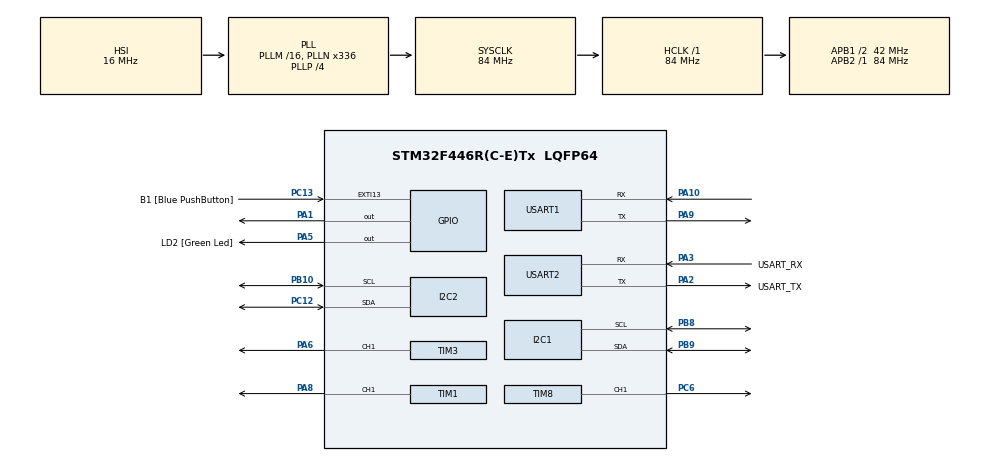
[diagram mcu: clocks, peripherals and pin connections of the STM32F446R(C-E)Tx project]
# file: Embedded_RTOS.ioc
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Dma.Request0=TIM3_CH1/TRIG
Dma.Request1=TIM1_CH1
Dma.TIM1_CH1.1.Direction=DMA_MEMORY_TO_PERIPH
Dma.TIM1_CH1.1.FIFOMode=DMA_FIFOMODE_DISABLE
Dma.TIM1_CH1.1.Instance=DMA2_Stream1
Dma.TIM1_CH1.1.MemDataAlignment=DMA_MDATAALIGN_HALFWORD
Dma.TIM1_CH1.1.MemInc=DMA_MINC_ENABLE
Dma.TIM1_CH1.1.Mode=DMA_NORMAL
Dma.TIM1_CH1.1.PeriphDataAlignment=DMA_PDATAALIGN_HALFWORD
Dma.TIM1_CH1.1.PeriphInc=DMA_PINC_DISABLE
Dma.TIM1_CH1.1.Priority=DMA_PRIORITY_LOW
Dma.TIM3_CH1/TRIG.0.Direction=DMA_PERIPH_TO_MEMORY
Dma.TIM3_CH1/TRIG.0.FIFOMode=DMA_FIFOMODE_DISABLE
Dma.TIM3_CH1/TRIG.0.Instance=DMA1_Stream4
Dma.TIM3_CH1/TRIG.0.MemDataAlignment=DMA_MDATAALIGN_HALFWORD
Dma.TIM3_CH1/TRIG.0.MemInc=DMA_MINC_ENABLE
Dma.TIM3_CH1/TRIG.0.Mode=DMA_NORMAL
Dma.TIM3_CH1/TRIG.0.PeriphDataAlignment=DMA_PDATAALIGN_HALFWORD
Dma.TIM3_CH1/TRIG.0.PeriphInc=DMA_PINC_DISABLE
Dma.TIM3_CH1/TRIG.0.Priority=DMA_PRIORITY_LOW
Mcu.Family=STM32F4
Mcu.Name=STM32F446R(C-E)Tx
Mcu.Package=LQFP64
NVIC.DMA1_Stream4_IRQn=true\:0\:0\:false\:false\:true\:false\:true\:true
NVIC.DMA2_Stream1_IRQn=true\:0\:0\:false\:false\:true\:false\:true\:true
NVIC.I2C1_ER_IRQn=true\:0\:0\:false\:false\:true\:true\:true\:true
NVIC.I2C1_EV_IRQn=true\:0\:0\:false\:false\:true\:true\:true\:true
NVIC.I2C2_ER_IRQn=true\:0\:0\:false\:false\:true\:true\:true\:true
NVIC.I2C2_EV_IRQn=true\:0\:0\:false\:false\:true\:true\:true\:true
NVIC.PriorityGroup=NVIC_PRIORITYGROUP_0
NVIC.TIM1_CC_IRQn=true\:0\:0\:false\:false\:true\:true\:true\:true
NVIC.TIM7_IRQn=true\:0\:0\:false\:false\:true\:true\:true\:true
PA1.Signal=GPIO_Output
PA10.Mode=Asynchronous
PA10.Signal=USART1_RX
PA13.GPIO_Label=TMS
PA13.Mode=Serial_Wire
PA13.Signal=SYS_JTMS-SWDIO
PA14.GPIO_Label=TCK
PA14.Mode=Serial_Wire
PA14.Signal=SYS_JTCK-SWCLK
PA2.GPIO_Label=USART_TX
PA2.Mode=Asynchronous
PA2.Signal=USART2_TX
PA3.GPIO_Label=USART_RX
PA3.Mode=Asynchronous
PA3.Signal=USART2_RX
PA5.GPIO_Label=LD2 [Green Led]
PA5.Signal=GPIO_Output
PA6.Signal=S_TIM3_CH1
PA8.Signal=S_TIM1_CH1
PA9.Mode=Asynchronous
PA9.Signal=USART1_TX
PB10.GPIO_Pu=GPIO_PULLUP
PB10.Mode=I2C
PB10.Signal=I2C2_SCL
PB3.GPIO_Label=SWO
PB3.Signal=SYS_JTDO-SWO
PB8.GPIO_Pu=GPIO_PULLUP
PB8.Mode=I2C
PB8.Signal=I2C1_SCL
PB9.GPIO_Pu=GPIO_PULLUP
PB9.Mode=I2C
PB9.Signal=I2C1_SDA
PC12.GPIO_Pu=GPIO_PULLUP
PC12.Mode=I2C
PC12.Signal=I2C2_SDA
PC13.GPIO_Label=B1 [Blue PushButton]
PC13.GPIO_ModeDefaultEXTI=GPIO_MODE_IT_FALLING
PC13.Signal=GPXTI13
PC14-OSC32_IN.Mode=LSE-External-Oscillator
PC14-OSC32_IN.Signal=RCC_OSC32_IN
PC15-OSC32_OUT.Mode=LSE-External-Oscillator
PC15-OSC32_OUT.Signal=RCC_OSC32_OUT
PC6.Signal=S_TIM8_CH1
PH0-OSC_IN.Mode=HSE-External-Oscillator
PH0-OSC_IN.Signal=RCC_OSC_IN
PH1-OSC_OUT.Mode=HSE-External-Oscillator
PH1-OSC_OUT.Signal=RCC_OSC_OUT
ProjectManager.HeapSize=0x200
ProjectManager.StackSize=0x400
ProjectManager.TargetToolchain=STM32CubeIDE
RCC.48MHZClocksFreq_Value=84000000
RCC.AHBFreq_Value=84000000
RCC.APB1CLKDivider=RCC_HCLK_DIV2
RCC.APB1Freq_Value=42000000
RCC.APB1TimFreq_Value=84000000
RCC.APB2Freq_Value=84000000
RCC.APB2TimFreq_Value=84000000
RCC.CortexFreq_Value=84000000
RCC.FLatency-AdvancedSettings=FLASH_LATENCY_2
RCC.HCLKFreq_Value=84000000
RCC.HSE_VALUE=8000000
RCC.HSI_VALUE=16000000
RCC.PLLN=336
RCC.PLLP=RCC_PLLP_DIV4
RCC.SYSCLKFreq_VALUE=84000000
RCC.SYSCLKSource=RCC_SYSCLKSOURCE_PLLCLK
RCC.USBFreq_Value=168000000
RCC.VCOOutputFreq_Value=336000000
SH.S_TIM1_CH1.0=TIM1_CH1,PWM Generation1 CH1
SH.S_TIM3_CH1.0=TIM3_CH1,PWM Generation1 CH1
SH.S_TIM8_CH1.0=TIM8_CH1,PWM Generation1 CH1
TIM1.Channel-PWM\ Generation1\ CH1=TIM_CHANNEL_1
TIM1.Period=90-1
TIM3.Channel-PWM\ Generation1\ CH1=TIM_CHANNEL_1
TIM6.Period=0xffff-1
TIM6.Prescaler=84-1
TIM7.Period=499
TIM7.Prescaler=41999
TIM8.Channel-PWM\ Generation1\ CH1=TIM_CHANNEL_1
USART1.VirtualMode=VM_ASYNC
USART2.VirtualMode=VM_ASYNC
VP_TIM6_VS_ClockSourceINT.Mode=Enable_Timer
VP_TIM7_VS_ClockSourceINT.Mode=Enable_Timer
board=NUCLEO-F446RE

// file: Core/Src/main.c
/* USER CODE BEGIN Header */
/**
  ******************************************************************************
  * @file           : main.c
  * @brief          : Main program body
  ******************************************************************************
  * @attention
  *
  * Copyright (c) 2025 STMicroelectronics.
  * All rights reserved.
  *
  * This software is licensed under terms that can be found in the LICENSE file
  * in the root directory of this software component.
  * If no LICENSE file comes with this software, it is provided AS-IS.
  *
  ******************************************************************************
  */
/* USER CODE END Header */
#include "main.h"

/* USER CODE BEGIN Includes */
#include "Tasks.h"
#include "Queue.h"
#include "dht11_driver.h"
#include "ina219.h"
#include "ledstrip.h"
#include "math.h"

/* USER CODE END Includes */

I2C_HandleTypeDef hi2c1;
I2C_HandleTypeDef hi2c2;

TIM_HandleTypeDef htim1;
TIM_HandleTypeDef htim3;
TIM_HandleTypeDef htim6;
TIM_HandleTypeDef htim7;
TIM_HandleTypeDef htim8;
DMA_HandleTypeDef hdma_tim1_ch1;
DMA_HandleTypeDef hdma_tim3_ch1_trig;

UART_HandleTypeDef huart1;
UART_HandleTypeDef huart2;

/* USER CODE BEGIN PV */
volatile uint8_t scheduler_tick = 0;

/* USER CODE END PV */

void SystemClock_Config(void);
static void MX_GPIO_Init(void);
static void MX_DMA_Init(void);
static void MX_USART2_UART_Init(void);
static void MX_TIM6_Init(void);
static void MX_TIM7_Init(void);
static void MX_I2C1_Init(void);
static void MX_TIM3_Init(void);
static void MX_TIM1_Init(void);
static void MX_TIM8_Init(void);
static void MX_USART1_UART_Init(void);
static void MX_I2C2_Init(void);

int main(void)
{

  /* MCU Configuration--------------------------------------------------------*/

  /* Reset of all peripherals, Initializes the Flash interface and the Systick. */
  HAL_Init();

  /* Configure the system clock */
  SystemClock_Config();

  /* Initialize all configured peripherals */
  MX_GPIO_Init();
  MX_DMA_Init();
  MX_USART2_UART_Init();
  MX_TIM6_Init();
  MX_TIM7_Init();
  MX_I2C1_Init();
  MX_TIM3_Init();
  MX_TIM1_Init();
  MX_TIM8_Init();
  MX_USART1_UART_Init();
  MX_I2C2_Init();
  /* USER CODE BEGIN 2 */

  HAL_TIM_Base_Start(&htim6); // setting up the timer
  HAL_TIM_Base_Start_IT(&htim7); // interrupt timer
  dht11_init(GPIOA, GPIO_PIN_1, &htim6); // setting up the dht11 sensor

	HAL_TIM_PWM_Start(&htim8, TIM_CHANNEL_1);// for fan pwm

    // task 0 is the temperature reading
  	tasks[0].state = INIT;
  	tasks[0].period = periodTemp;
  	tasks[0].elapsedTime = tasks[0].period;
  	tasks[0].TickFct = &TempSensor;
  	uint32_t lastPrint = 0;

  	// task 1 is the leds voltage sensor
  	tasks[1].state = INIT;
  	tasks[1].period = periodVolts;
  	tasks[1].elapsedTime = tasks[1].period;
  	tasks[1].TickFct = &VoltageSensorLEDs;

  	// tasks 2 is the led strip
  	tasks[2].state = INIT;
  	tasks[2].period = periodLEDs;
  	tasks[2].elapsedTime = tasks[2].period;
  	tasks[2].TickFct = &LightLEDs;

  	// tasks 3 is the fan
  	tasks[3].state = INIT;
	tasks[3].period = periodLEDs;
	tasks[3].elapsedTime = tasks[3].period;
	tasks[3].TickFct = &FanControl;

	// tasks 4 is the fan voltage sensor
	tasks[4].state = INIT;
	tasks[4].period = periodVolts;
	tasks[4].elapsedTime = tasks[4].period;
	tasks[4].TickFct = &VoltageSensorFan;

  	Q4ucInit(&sharedQueue);
  /* USER CODE END 2 */

  /* Infinite loop */
  while (1)
  {

    /* USER CODE BEGIN 3 */
	  if (scheduler_tick) {
	          scheduler_tick = 0;   // clear flag
	          TimerISR();          // run scheduler in thread context
	      }

	      // print queue every 2s
	      if (HAL_GetTick() - lastPrint >= 2000) {
	          lastPrint = HAL_GetTick();
	          Q4ucPrint(&sharedQueue);
	      }

  }
  /* USER CODE END 3 */
}

void SystemClock_Config(void)
{
  RCC_OscInitTypeDef RCC_OscInitStruct = {0};
  RCC_ClkInitTypeDef RCC_ClkInitStruct = {0};

  /** Configure the main internal regulator output voltage
  */
  __HAL_RCC_PWR_CLK_ENABLE();
  __HAL_PWR_VOLTAGESCALING_CONFIG(PWR_REGULATOR_VOLTAGE_SCALE3);

  /** Initializes the RCC Oscillators according to the specified parameters
  * in the RCC_OscInitTypeDef structure.
  */
  RCC_OscInitStruct.OscillatorType = RCC_OSCILLATORTYPE_HSI;
  RCC_OscInitStruct.HSIState = RCC_HSI_ON;
  RCC_OscInitStruct.HSICalibrationValue = RCC_HSICALIBRATION_DEFAULT;
  RCC_OscInitStruct.PLL.PLLState = RCC_PLL_ON;
  RCC_OscInitStruct.PLL.PLLSource = RCC_PLLSOURCE_HSI;
  RCC_OscInitStruct.PLL.PLLM = 16;
  RCC_OscInitStruct.PLL.PLLN = 336;
  RCC_OscInitStruct.PLL.PLLP = RCC_PLLP_DIV4;
  RCC_OscInitStruct.PLL.PLLQ = 2;
  RCC_OscInitStruct.PLL.PLLR = 2;
  if (HAL_RCC_OscConfig(&RCC_OscInitStruct) != HAL_OK)
  {
    Error_Handler();
  }

  /** Initializes the CPU, AHB and APB buses clocks
  */
  RCC_ClkInitStruct.ClockType = RCC_CLOCKTYPE_HCLK|RCC_CLOCKTYPE_SYSCLK
                              |RCC_CLOCKTYPE_PCLK1|RCC_CLOCKTYPE_PCLK2;
  RCC_ClkInitStruct.SYSCLKSource = RCC_SYSCLKSOURCE_PLLCLK;
  RCC_ClkInitStruct.AHBCLKDivider = RCC_SYSCLK_DIV1;
  RCC_ClkInitStruct.APB1CLKDivider = RCC_HCLK_DIV2;
  RCC_ClkInitStruct.APB2CLKDivider = RCC_HCLK_DIV1;

  if (HAL_RCC_ClockConfig(&RCC_ClkInitStruct, FLASH_LATENCY_2) != HAL_OK)
  {
    Error_Handler();
  }
}

static void MX_I2C1_Init(void)
{

  hi2c1.Instance = I2C1;
  hi2c1.Init.ClockSpeed = 100000;
  hi2c1.Init.DutyCycle = I2C_DUTYCYCLE_2;
  hi2c1.Init.OwnAddress1 = 0;
  hi2c1.Init.AddressingMode = I2C_ADDRESSINGMODE_7BIT;
  hi2c1.Init.DualAddressMode = I2C_DUALADDRESS_DISABLE;
  hi2c1.Init.OwnAddress2 = 0;
  hi2c1.Init.GeneralCallMode = I2C_GENERALCALL_DISABLE;
  hi2c1.Init.NoStretchMode = I2C_NOSTRETCH_DISABLE;
  if (HAL_I2C_Init(&hi2c1) != HAL_OK)
  {
    Error_Handler();
  }

}

static void MX_I2C2_Init(void)
{

  hi2c2.Instance = I2C2;
  hi2c2.Init.ClockSpeed = 100000;
  hi2c2.Init.DutyCycle = I2C_DUTYCYCLE_2;
  hi2c2.Init.OwnAddress1 = 0;
  hi2c2.Init.AddressingMode = I2C_ADDRESSINGMODE_7BIT;
  hi2c2.Init.DualAddressMode = I2C_DUALADDRESS_DISABLE;
  hi2c2.Init.OwnAddress2 = 0;
  hi2c2.Init.GeneralCallMode = I2C_GENERALCALL_DISABLE;
  hi2c2.Init.NoStretchMode = I2C_NOSTRETCH_DISABLE;
  if (HAL_I2C_Init(&hi2c2) != HAL_OK)
  {
    Error_Handler();
  }

}

static void MX_TIM1_Init(void)
{

  TIM_MasterConfigTypeDef sMasterConfig = {0};
  TIM_OC_InitTypeDef sConfigOC = {0};
  TIM_BreakDeadTimeConfigTypeDef sBreakDeadTimeConfig = {0};

  htim1.Instance = TIM1;
  htim1.Init.Prescaler = 0;
  htim1.Init.CounterMode = TIM_COUNTERMODE_UP;
  htim1.Init.Period = 90-1;
  htim1.Init.ClockDivision = TIM_CLOCKDIVISION_DIV1;
  htim1.Init.RepetitionCounter = 0;
  htim1.Init.AutoReloadPreload = TIM_AUTORELOAD_PRELOAD_DISABLE;
  if (HAL_TIM_PWM_Init(&htim1) != HAL_OK)
  {
    Error_Handler();
  }
  sMasterConfig.MasterOutputTrigger = TIM_TRGO_RESET;
  sMasterConfig.MasterSlaveMode = TIM_MASTERSLAVEMODE_DISABLE;
  if (HAL_TIMEx_MasterConfigSynchronization(&htim1, &sMasterConfig) != HAL_OK)
  {
    Error_Handler();
  }
  sConfigOC.OCMode = TIM_OCMODE_PWM1;
  sConfigOC.Pulse = 0;
  sConfigOC.OCPolarity = TIM_OCPOLARITY_HIGH;
  sConfigOC.OCNPolarity = TIM_OCNPOLARITY_HIGH;
  sConfigOC.OCFastMode = TIM_OCFAST_DISABLE;
  sConfigOC.OCIdleState = TIM_OCIDLESTATE_RESET;
  sConfigOC.OCNIdleState = TIM_OCNIDLESTATE_RESET;
  if (HAL_TIM_PWM_ConfigChannel(&htim1, &sConfigOC, TIM_CHANNEL_1) != HAL_OK)
  {
    Error_Handler();
  }
  sBreakDeadTimeConfig.OffStateRunMode = TIM_OSSR_DISABLE;
  sBreakDeadTimeConfig.OffStateIDLEMode = TIM_OSSI_DISABLE;
  sBreakDeadTimeConfig.LockLevel = TIM_LOCKLEVEL_OFF;
  sBreakDeadTimeConfig.DeadTime = 0;
  sBreakDeadTimeConfig.BreakState = TIM_BREAK_DISABLE;
  sBreakDeadTimeConfig.BreakPolarity = TIM_BREAKPOLARITY_HIGH;
  sBreakDeadTimeConfig.AutomaticOutput = TIM_AUTOMATICOUTPUT_DISABLE;
  if (HAL_TIMEx_ConfigBreakDeadTime(&htim1, &sBreakDeadTimeConfig) != HAL_OK)
  {
    Error_Handler();
  }
  HAL_TIM_MspPostInit(&htim1);

}

static void MX_TIM3_Init(void)
{

  TIM_MasterConfigTypeDef sMasterConfig = {0};
  TIM_OC_InitTypeDef sConfigOC = {0};

  htim3.Instance = TIM3;
  htim3.Init.Prescaler = 0;
  htim3.Init.CounterMode = TIM_COUNTERMODE_UP;
  htim3.Init.Period = 65535;
  htim3.Init.ClockDivision = TIM_CLOCKDIVISION_DIV1;
  htim3.Init.AutoReloadPreload = TIM_AUTORELOAD_PRELOAD_DISABLE;
  if (HAL_TIM_PWM_Init(&htim3) != HAL_OK)
  {
    Error_Handler();
  }
  sMasterConfig.MasterOutputTrigger = TIM_TRGO_RESET;
  sMasterConfig.MasterSlaveMode = TIM_MASTERSLAVEMODE_DISABLE;
  if (HAL_TIMEx_MasterConfigSynchronization(&htim3, &sMasterConfig) != HAL_OK)
  {
    Error_Handler();
  }
  sConfigOC.OCMode = TIM_OCMODE_PWM1;
  sConfigOC.Pulse = 0;
  sConfigOC.OCPolarity = TIM_OCPOLARITY_HIGH;
  sConfigOC.OCFastMode = TIM_OCFAST_DISABLE;
  if (HAL_TIM_PWM_ConfigChannel(&htim3, &sConfigOC, TIM_CHANNEL_1) != HAL_OK)
  {
    Error_Handler();
  }
  HAL_TIM_MspPostInit(&htim3);

}

static void MX_TIM6_Init(void)
{

  TIM_MasterConfigTypeDef sMasterConfig = {0};

  htim6.Instance = TIM6;
  htim6.Init.Prescaler = 84-1;
  htim6.Init.CounterMode = TIM_COUNTERMODE_UP;
  htim6.Init.Period = 0xffff-1;
  htim6.Init.AutoReloadPreload = TIM_AUTORELOAD_PRELOAD_DISABLE;
  if (HAL_TIM_Base_Init(&htim6) != HAL_OK)
  {
    Error_Handler();
  }
  sMasterConfig.MasterOutputTrigger = TIM_TRGO_RESET;
  sMasterConfig.MasterSlaveMode = TIM_MASTERSLAVEMODE_DISABLE;
  if (HAL_TIMEx_MasterConfigSynchronization(&htim6, &sMasterConfig) != HAL_OK)
  {
    Error_Handler();
  }

}

static void MX_TIM7_Init(void)
{

  TIM_MasterConfigTypeDef sMasterConfig = {0};

  htim7.Instance = TIM7;
  htim7.Init.Prescaler = 41999;
  htim7.Init.CounterMode = TIM_COUNTERMODE_UP;
  htim7.Init.Period = 499;
  htim7.Init.AutoReloadPreload = TIM_AUTORELOAD_PRELOAD_DISABLE;
  if (HAL_TIM_Base_Init(&htim7) != HAL_OK)
  {
    Error_Handler();
  }
  sMasterConfig.MasterOutputTrigger = TIM_TRGO_RESET;
  sMasterConfig.MasterSlaveMode = TIM_MASTERSLAVEMODE_DISABLE;
  if (HAL_TIMEx_MasterConfigSynchronization(&htim7, &sMasterConfig) != HAL_OK)
  {
    Error_Handler();
  }

}

static void MX_TIM8_Init(void)
{

  TIM_MasterConfigTypeDef sMasterConfig = {0};
  TIM_OC_InitTypeDef sConfigOC = {0};
  TIM_BreakDeadTimeConfigTypeDef sBreakDeadTimeConfig = {0};

  htim8.Instance = TIM8;
  htim8.Init.Prescaler = 0;
  htim8.Init.CounterMode = TIM_COUNTERMODE_UP;
  htim8.Init.Period = 65535;
  htim8.Init.ClockDivision = TIM_CLOCKDIVISION_DIV1;
  htim8.Init.RepetitionCounter = 0;
  htim8.Init.AutoReloadPreload = TIM_AUTORELOAD_PRELOAD_DISABLE;
  if (HAL_TIM_PWM_Init(&htim8) != HAL_OK)
  {
    Error_Handler();
  }
  sMasterConfig.MasterOutputTrigger = TIM_TRGO_RESET;
  sMasterConfig.MasterSlaveMode = TIM_MASTERSLAVEMODE_DISABLE;
  if (HAL_TIMEx_MasterConfigSynchronization(&htim8, &sMasterConfig) != HAL_OK)
  {
    Error_Handler();
  }
  sConfigOC.OCMode = TIM_OCMODE_PWM1;
  sConfigOC.Pulse = 0;
  sConfigOC.OCPolarity = TIM_OCPOLARITY_HIGH;
  sConfigOC.OCNPolarity = TIM_OCNPOLARITY_HIGH;
  sConfigOC.OCFastMode = TIM_OCFAST_DISABLE;
  sConfigOC.OCIdleState = TIM_OCIDLESTATE_RESET;
  sConfigOC.OCNIdleState = TIM_OCNIDLESTATE_RESET;
  if (HAL_TIM_PWM_ConfigChannel(&htim8, &sConfigOC, TIM_CHANNEL_1) != HAL_OK)
  {
    Error_Handler();
  }
  sBreakDeadTimeConfig.OffStateRunMode = TIM_OSSR_DISABLE;
  sBreakDeadTimeConfig.OffStateIDLEMode = TIM_OSSI_DISABLE;
  sBreakDeadTimeConfig.LockLevel = TIM_LOCKLEVEL_OFF;
  sBreakDeadTimeConfig.DeadTime = 0;
  sBreakDeadTimeConfig.BreakState = TIM_BREAK_DISABLE;
  sBreakDeadTimeConfig.BreakPolarity = TIM_BREAKPOLARITY_HIGH;
  sBreakDeadTimeConfig.AutomaticOutput = TIM_AUTOMATICOUTPUT_DISABLE;
  if (HAL_TIMEx_ConfigBreakDeadTime(&htim8, &sBreakDeadTimeConfig) != HAL_OK)
  {
    Error_Handler();
  }
  HAL_TIM_MspPostInit(&htim8);

}

static void MX_USART1_UART_Init(void)
{

  huart1.Instance = USART1;
  huart1.Init.BaudRate = 115200;
  huart1.Init.WordLength = UART_WORDLENGTH_8B;
  huart1.Init.StopBits = UART_STOPBITS_1;
  huart1.Init.Parity = UART_PARITY_NONE;
  huart1.Init.Mode = UART_MODE_TX_RX;
  huart1.Init.HwFlowCtl = UART_HWCONTROL_NONE;
  huart1.Init.OverSampling = UART_OVERSAMPLING_16;
  if (HAL_UART_Init(&huart1) != HAL_OK)
  {
    Error_Handler();
  }

}

static void MX_USART2_UART_Init(void)
{

  huart2.Instance = USART2;
  huart2.Init.BaudRate = 115200;
  huart2.Init.WordLength = UART_WORDLENGTH_8B;
  huart2.Init.StopBits = UART_STOPBITS_1;
  huart2.Init.Parity = UART_PARITY_NONE;
  huart2.Init.Mode = UART_MODE_TX_RX;
  huart2.Init.HwFlowCtl = UART_HWCONTROL_NONE;
  huart2.Init.OverSampling = UART_OVERSAMPLING_16;
  if (HAL_UART_Init(&huart2) != HAL_OK)
  {
    Error_Handler();
  }

}

static void MX_DMA_Init(void)
{

  /* DMA controller clock enable */
  __HAL_RCC_DMA1_CLK_ENABLE();
  __HAL_RCC_DMA2_CLK_ENABLE();

  /* DMA interrupt init */
  /* DMA1_Stream4_IRQn interrupt configuration */
  HAL_NVIC_SetPriority(DMA1_Stream4_IRQn, 0, 0);
  HAL_NVIC_EnableIRQ(DMA1_Stream4_IRQn);
  /* DMA2_Stream1_IRQn interrupt configuration */
  HAL_NVIC_SetPriority(DMA2_Stream1_IRQn, 0, 0);
  HAL_NVIC_EnableIRQ(DMA2_Stream1_IRQn);

}

static void MX_GPIO_Init(void)
{
  GPIO_InitTypeDef GPIO_InitStruct = {0};

  /* GPIO Ports Clock Enable */
  __HAL_RCC_GPIOC_CLK_ENABLE();
  __HAL_RCC_GPIOH_CLK_ENABLE();
  __HAL_RCC_GPIOA_CLK_ENABLE();
  __HAL_RCC_GPIOB_CLK_ENABLE();

  /*Configure GPIO pin Output Level */
  HAL_GPIO_WritePin(GPIOA, GPIO_PIN_1|LD2_Pin, GPIO_PIN_RESET);

  /*Configure GPIO pin : B1_Pin */
  GPIO_InitStruct.Pin = B1_Pin;
  GPIO_InitStruct.Mode = GPIO_MODE_IT_FALLING;
  GPIO_InitStruct.Pull = GPIO_NOPULL;
  HAL_GPIO_Init(B1_GPIO_Port, &GPIO_InitStruct);

  /*Configure GPIO pins : PA1 LD2_Pin */
  GPIO_InitStruct.Pin = GPIO_PIN_1|LD2_Pin;
  GPIO_InitStruct.Mode = GPIO_MODE_OUTPUT_PP;
  GPIO_InitStruct.Pull = GPIO_NOPULL;
  GPIO_InitStruct.Speed = GPIO_SPEED_FREQ_LOW;
  HAL_GPIO_Init(GPIOA, &GPIO_InitStruct);

}

/* USER CODE BEGIN 4 */
void HAL_TIM_PeriodElapsedCallback(TIM_HandleTypeDef *htim)
{
    if (htim->Instance == TIM7)   // Check which timer fired
    {
    	scheduler_tick = 1;               // Call your scheduler
    }
}
/* USER CODE END 4 */

void Error_Handler(void)
{
  __disable_irq();
  while (1)
  {
  }
}
